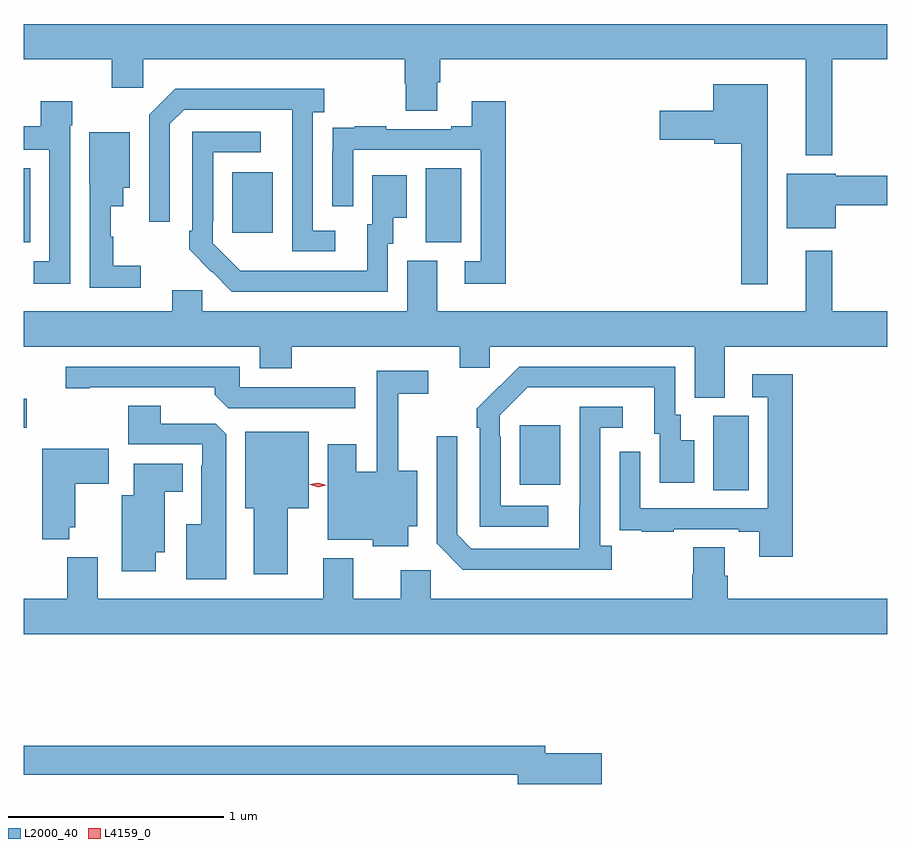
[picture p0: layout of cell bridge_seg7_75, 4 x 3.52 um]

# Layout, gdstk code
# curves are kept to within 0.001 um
import gdstk
lib = gdstk.Library(unit=1e-6, precision=1e-09)
def R(c, l, rs):  # rectangles x0, y0, x1, y1
    for r in rs: c.add(gdstk.rectangle(r[:2], r[2:], *l))
def P(c, l, *ps):  # polygons
    for p in ps: c.add(gdstk.Polygon(p, *l))
L2000_40 = (2000, 40)
L4159_0 = (4159, 0)

bridge_seg7_75 = lib.new_cell('bridge_seg7_75')
R(bridge_seg7_75, L2000_40, [(1069.568,1023.928,1069.732,1024.272), (1068.671,1023.953,1068.859,1024.228), (1066.373,1024.216,1066.385,1024.352), (1066.373,1025.077,1066.402,1025.42), (1068.236,1025.077,1068.4,1025.42), (1067.339,1025.121,1067.527,1025.401)])
P(bridge_seg7_75, L2000_40, [(1070.119,1025.924),(1070.373,1025.924),(1070.373,1026.088),(1066.373,1026.088),(1066.373,1025.924),(1066.78,1025.924),(1066.78,1025.793),(1066.926,1025.793),(1066.926,1025.924),(1068.137,1025.924),(1068.137,1025.811),(1068.142,1025.811),(1068.142,1025.686),(1068.289,1025.686),(1068.289,1025.818),(1068.302,1025.818),(1068.302,1025.924),(1069.997,1025.924),(1069.997,1025.48),(1070.119,1025.48)],
  [(1069.819,1025.809),(1069.568,1025.809),(1069.568,1025.686),(1069.32,1025.686),(1069.32,1025.552),(1069.572,1025.552),(1069.572,1025.534),(1069.698,1025.534),(1069.698,1024.881),(1069.819,1024.881)],
  [(1067.815,1025.13),(1067.712,1025.13),(1067.712,1025.678),(1067.764,1025.678),(1067.764,1025.788),(1067.074,1025.788),(1066.953,1025.667),(1066.953,1025.172),(1067.049,1025.172),(1067.049,1025.625),(1067.115,1025.691),(1067.616,1025.691),(1067.616,1025.034),(1067.815,1025.034)],
  [(1068.605,1025.731),(1068.449,1025.731),(1068.449,1025.614),(1068.353,1025.614),(1068.353,1025.601),(1068.053,1025.601),(1068.053,1025.614),(1067.905,1025.614),(1067.905,1025.607),(1067.803,1025.607),(1067.803,1025.498),(1067.802,1025.498),(1067.802,1025.244),(1067.898,1025.244),(1067.898,1025.505),(1068.489,1025.505),(1068.489,1024.989),(1068.417,1024.989),(1068.417,1024.884),(1068.605,1024.884)],
  [(1066.587,1025.618),(1066.596,1025.618),(1066.596,1025.731),(1066.451,1025.731),(1066.451,1025.614),(1066.373,1025.614),(1066.373,1025.505),(1066.491,1025.505),(1066.491,1024.989),(1066.419,1024.989),(1066.419,1024.884),(1066.587,1024.884)],
  [(1068.06,1025.07),(1068.085,1025.07),(1068.085,1025.189),(1068.148,1025.189),(1068.148,1025.386),(1067.987,1025.386),(1067.987,1025.16),(1067.963,1025.16),(1067.963,1024.944),(1067.376,1024.945),(1067.247,1025.073),(1067.247,1025.173),(1067.25,1025.173),(1067.25,1025.493),(1067.47,1025.493),(1067.47,1025.589),(1067.154,1025.589),(1067.154,1025.131),(1067.139,1025.131),(1067.139,1025.043),(1067.336,1024.848),(1068.06,1024.848)],
  [(1066.915,1024.967),(1066.786,1024.967),(1066.786,1025.103),(1066.775,1025.103),(1066.775,1025.243),(1066.834,1025.243),(1066.834,1025.33),(1066.864,1025.33),(1066.864,1025.587),(1066.676,1025.587),(1066.676,1025.347),(1066.677,1025.347),(1066.677,1024.866),(1066.915,1024.866)],
  [(1070.134,1025.248),(1070.373,1025.248),(1070.373,1025.384),(1070.134,1025.384),(1070.134,1025.395),(1069.907,1025.395),(1069.907,1025.141),(1070.134,1025.141)],
  [(1068.392,1024.494),(1068.531,1024.494),(1068.531,1024.592),(1069.481,1024.592),(1069.481,1024.357),(1069.621,1024.357),(1069.621,1024.592),(1070.373,1024.592),(1070.373,1024.756),(1070.119,1024.756),(1070.119,1025.038),(1069.997,1025.038),(1069.997,1024.756),(1068.289,1024.756),(1068.289,1024.992),(1068.149,1024.992),(1068.149,1024.756),(1067.199,1024.756),(1067.199,1024.854),(1067.06,1024.854),(1067.06,1024.756),(1066.373,1024.756),(1066.373,1024.592),(1067.465,1024.592),(1067.465,1024.493),(1067.613,1024.493),(1067.613,1024.592),(1068.392,1024.592)],
  [(1067.908,1024.404),(1067.373,1024.404),(1067.373,1024.5),(1066.566,1024.5),(1066.566,1024.399),(1066.678,1024.399),(1066.678,1024.404),(1067.258,1024.404),(1067.258,1024.37),(1067.319,1024.308),(1067.908,1024.308)],
  [(1068.802,1023.855),(1068.582,1023.855),(1068.582,1024.175),(1068.579,1024.175),(1068.579,1024.275),(1068.708,1024.404),(1069.295,1024.404),(1069.295,1024.188),(1069.319,1024.188),(1069.319,1023.963),(1069.48,1023.963),(1069.48,1024.159),(1069.417,1024.159),(1069.417,1024.278),(1069.392,1024.278),(1069.392,1024.5),(1068.668,1024.5),(1068.471,1024.305),(1068.471,1024.217),(1068.486,1024.217),(1068.486,1023.759),(1068.802,1023.759)],
  [(1068.154,1023.761),(1068.196,1023.761),(1068.196,1024.018),(1068.107,1024.018),(1068.107,1024.374),(1068.247,1024.374),(1068.247,1024.482),(1068.009,1024.482),(1068.009,1024.012),(1067.914,1024.012),(1067.914,1024.141),(1067.78,1024.141),(1067.78,1023.698),(1067.989,1023.698),(1067.989,1023.668),(1068.154,1023.668)],
  [(1069.937,1024.465),(1069.749,1024.465),(1069.749,1024.359),(1069.821,1024.359),(1069.821,1023.843),(1069.23,1023.843),(1069.23,1024.105),(1069.134,1024.105),(1069.134,1023.85),(1069.135,1023.85),(1069.135,1023.741),(1069.237,1023.741),(1069.237,1023.735),(1069.385,1023.735),(1069.385,1023.747),(1069.685,1023.747),(1069.685,1023.735),(1069.781,1023.735),(1069.781,1023.618),(1069.937,1023.618)],
  [(1067.311,1024.187),(1067.262,1024.236),(1067.008,1024.236),(1067.008,1024.319),(1066.856,1024.319),(1066.856,1024.14),(1067.199,1024.14),(1067.199,1024.043),(1067.195,1024.043),(1067.195,1023.769),(1067.126,1023.769),(1067.126,1023.515),(1067.311,1023.515)],
  [(1069.096,1023.67),(1069.044,1023.67),(1069.044,1024.218),(1069.147,1024.218),(1069.147,1024.314),(1068.948,1024.314),(1068.947,1023.657),(1068.447,1023.657),(1068.381,1023.723),(1068.381,1024.177),(1068.285,1024.177),(1068.285,1023.681),(1068.406,1023.56),(1069.096,1023.56)],
  [(1067.596,1023.845),(1067.692,1023.845),(1067.692,1024.198),(1067.399,1024.198),(1067.399,1023.845),(1067.438,1023.845),(1067.438,1023.537),(1067.596,1023.537)],
  [(1066.582,1023.755),(1066.612,1023.755),(1066.612,1023.958),(1066.765,1023.958),(1066.765,1024.12),(1066.457,1024.12),(1066.457,1023.701),(1066.582,1023.701)],
  [(1066.984,1023.641),(1067.026,1023.641),(1067.026,1023.92),(1067.11,1023.92),(1067.11,1024.051),(1066.883,1024.051),(1066.883,1023.904),(1066.826,1023.904),(1066.826,1023.552),(1066.984,1023.552)],
  [(1068.119,1023.556),(1068.119,1023.424),(1067.899,1023.424),(1067.899,1023.613),(1067.759,1023.613),(1067.759,1023.424),(1066.714,1023.424),(1066.714,1023.616),(1066.574,1023.616),(1066.574,1023.424),(1066.373,1023.424),(1066.373,1023.26),(1070.373,1023.26),(1070.373,1023.424),(1069.634,1023.424),(1069.634,1023.53),(1069.621,1023.53),(1069.621,1023.662),(1069.474,1023.662),(1069.474,1023.537),(1069.469,1023.537),(1069.469,1023.424),(1068.258,1023.424),(1068.258,1023.556)],
  [(1069.051,1022.708),(1068.79,1022.708),(1068.79,1022.744),(1066.373,1022.744),(1066.373,1022.608),(1068.662,1022.608),(1068.662,1022.566),(1069.051,1022.566)])
P(bridge_seg7_75, L4159_0, [(1067.736,1023.942),(1067.699,1023.953),(1067.698,1023.954),(1067.699,1023.954),(1067.737,1023.962),(1067.774,1023.951),(1067.774,1023.95),(1067.774,1023.95)])

lib.write_gds('bridge_seg7_75.gds')
